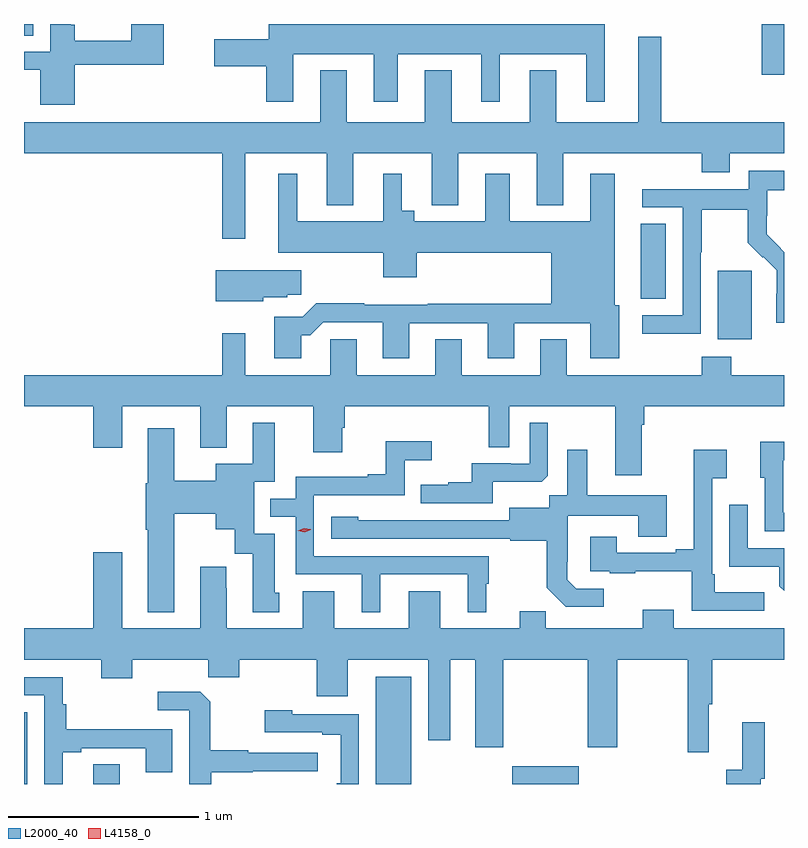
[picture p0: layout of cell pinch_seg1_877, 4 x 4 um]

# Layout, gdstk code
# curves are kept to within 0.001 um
import gdstk
lib = gdstk.Library(unit=1e-6, precision=1e-09)
def R(c, l, rs):  # rectangles x0, y0, x1, y1
    for r in rs: c.add(gdstk.rectangle(r[:2], r[2:], *l))
def P(c, l, *ps):  # polygons
    for p in ps: c.add(gdstk.Polygon(p, *l))
L2000_40 = (2000, 40)
L4158_0 = (4158, 0)

pinch_seg1_877 = lib.new_cell('pinch_seg1_877')
R(pinch_seg1_877, L2000_40, [(614.329,529.765,614.346,530.142), (614.693,529.765,614.833,529.868), (616.181,529.765,616.366,530.329), (616.898,529.765,617.248,529.858), (617.981,532.106,618.16,532.467), (617.576,532.318,617.707,532.715), (618.212,533.499,618.329,533.765), (614.329,533.704,614.377,533.765)])
P(pinch_seg1_877, L2000_40, [(615.745,533.606),(616.169,533.606),(616.169,533.355),(616.297,533.355),(616.297,533.606),(616.736,533.606),(616.736,533.355),(616.834,533.355),(616.834,533.606),(617.288,533.606),(617.288,533.355),(617.386,533.355),(617.386,533.765),(615.617,533.765),(615.617,533.684),(615.33,533.684),(615.33,533.542),(615.605,533.542),(615.605,533.355),(615.745,533.355)],
  [(614.596,533.55),(615.065,533.55),(615.065,533.765),(614.894,533.765),(614.894,533.678),(614.596,533.678),(614.596,533.761),(614.575,533.761),(614.575,533.765),(614.466,533.765),(614.466,533.619),(614.329,533.619),(614.329,533.523),(614.414,533.523),(614.414,533.339),(614.596,533.339)],
  [(617.131,533.521),(616.991,533.521),(616.991,533.248),(616.579,533.248),(616.579,533.521),(616.439,533.521),(616.439,533.248),(616.027,533.248),(616.027,533.521),(615.887,533.521),(615.887,533.248),(614.329,533.248),(614.329,533.084),(615.372,533.084),(615.372,532.635),(615.493,532.635),(615.493,533.084),(615.923,533.084),(615.923,532.811),(616.063,532.811),(616.063,533.084),(616.475,533.084),(616.475,532.811),(616.615,532.811),(616.615,533.084),(617.027,533.084),(617.027,532.811),(617.167,532.811),(617.167,533.084),(617.896,533.084),(617.896,532.985),(618.043,532.985),(618.043,533.084),(618.329,533.084),(618.329,533.248),(617.683,533.248),(617.683,533.698),(617.561,533.698),(617.561,533.248),(617.131,533.248)],
  [(617.892,532.564),(617.895,532.564),(617.895,532.788),(618.139,532.788),(618.139,532.613),(618.216,532.536),(618.219,532.539),(618.29,532.469),(618.29,532.346),(618.288,532.346),(618.288,532.192),(618.329,532.192),(618.329,532.565),(618.311,532.583),(618.312,532.584),(618.238,532.658),(618.238,532.755),(618.24,532.755),(618.24,532.889),(618.329,532.889),(618.329,532.993),(618.144,532.993),(618.144,532.896),(617.583,532.896),(617.583,532.8),(617.796,532.8),(617.796,532.233),(617.583,532.233),(617.583,532.135),(617.892,532.135)],
  [(615.787,532.127),(615.836,532.127),(615.903,532.194),(616.217,532.194),(616.217,532.005),(616.357,532.005),(616.357,532.191),(616.769,532.191),(616.769,532.005),(616.909,532.005),(616.909,532.191),(617.309,532.191),(617.309,532.005),(617.461,532.005),(617.461,532.284),(617.437,532.284),(617.437,532.978),(617.309,532.978),(617.309,532.726),(616.885,532.726),(616.885,532.978),(616.757,532.978),(616.757,532.726),(616.384,532.726),(616.384,532.783),(616.318,532.783),(616.318,532.978),(616.22,532.978),(616.22,532.726),(615.766,532.726),(615.766,532.978),(615.668,532.978),(615.668,532.562),(616.219,532.562),(616.219,532.431),(616.397,532.431),(616.397,532.562),(617.105,532.562),(617.105,532.292),(616.453,532.292),(616.453,532.288),(616.121,532.288),(616.121,532.295),(615.866,532.295),(615.795,532.224),(615.647,532.224),(615.647,532.005),(615.787,532.005)],
  [(615.588,532.328),(615.714,532.328),(615.714,532.339),(615.787,532.339),(615.787,532.468),(615.338,532.468),(615.338,532.307),(615.588,532.307)],
  [(614.329,531.752),(614.693,531.752),(614.693,531.534),(614.845,531.534),(614.845,531.752),(615.257,531.752),(615.257,531.536),(615.397,531.536),(615.397,531.752),(615.851,531.752),(615.851,531.51),(616.003,531.51),(616.003,531.639),(616.016,531.639),(616.016,531.752),(616.776,531.752),(616.776,531.538),(616.884,531.538),(616.884,531.752),(617.441,531.752),(617.441,531.39),(617.581,531.39),(617.581,531.656),(617.594,531.656),(617.594,531.752),(618.329,531.752),(618.329,531.916),(618.051,531.916),(618.051,532.015),(617.896,532.015),(617.896,531.916),(617.185,531.916),(617.185,532.106),(617.045,532.106),(617.045,531.916),(616.633,531.916),(616.633,532.106),(616.493,532.106),(616.493,531.916),(616.081,531.916),(616.081,532.106),(615.942,532.106),(615.942,531.916),(615.493,531.916),(615.493,532.138),(615.372,532.138),(615.372,531.916),(614.329,531.916)],
  [(616.795,531.356),(617.053,531.356),(617.085,531.387),(617.085,531.667),(616.992,531.667),(616.992,531.45),(616.892,531.45),(616.892,531.453),(616.685,531.453),(616.685,531.352),(616.561,531.352),(616.561,531.34),(616.417,531.34),(616.417,531.243),(616.795,531.243)],
  [(615.121,531.188),(615.338,531.188),(615.338,531.107),(615.437,531.107),(615.437,530.976),(615.533,530.976),(615.533,530.67),(615.673,530.67),(615.673,530.772),(615.649,530.772),(615.649,531.081),(615.54,531.081),(615.54,531.357),(615.649,531.357),(615.649,531.667),(615.533,531.667),(615.533,531.451),(615.338,531.451),(615.338,531.36),(615.121,531.36),(615.121,531.637),(614.981,531.637),(614.981,531.348),(614.969,531.348),(614.969,531.104),(614.981,531.104),(614.981,530.669),(615.121,530.669)],
  [(616.204,530.868),(616.664,530.868),(616.664,530.669),(616.762,530.669),(616.762,530.82),(616.774,530.82),(616.774,530.964),(615.855,530.964),(615.855,531.285),(616.332,531.285),(616.332,531.47),(616.474,531.47),(616.474,531.569),(616.234,531.569),(616.234,531.394),(616.139,531.394),(616.139,531.381),(615.759,531.381),(615.759,531.267),(615.626,531.267),(615.626,531.171),(615.759,531.171),(615.759,530.868),(616.106,530.868),(616.106,530.669),(616.204,530.669)],
  [(618.329,531.192),(618.324,531.192),(618.324,531.468),(618.329,531.468),(618.329,531.566),(618.203,531.566),(618.203,531.378),(618.228,531.378),(618.228,531.096),(618.329,531.096)],
  [(618.226,530.773),(617.965,530.773),(617.965,530.869),(617.952,530.869),(617.952,531.374),(618.028,531.374),(618.028,531.523),(617.855,531.523),(617.855,531.001),(617.759,531.001),(617.759,530.982),(617.449,530.982),(617.449,531.067),(617.309,531.067),(617.309,530.886),(617.413,530.886),(617.413,530.874),(617.545,530.874),(617.545,530.885),(617.844,530.885),(617.844,530.676),(618.226,530.676)],
  [(617.38,530.793),(617.235,530.793),(617.188,530.84),(617.188,530.935),(617.19,530.935),(617.19,531.176),(617.561,531.176),(617.561,531.067),(617.713,531.067),(617.713,531.286),(617.293,531.286),(617.293,531.523),(617.189,531.523),(617.189,531.284),(617.094,531.284),(617.094,531.22),(616.883,531.22),(616.883,531.153),(616.089,531.154),(616.089,531.172),(615.945,531.172),(615.945,531.057),(616.887,531.057),(616.887,531.045),(617.079,531.045),(617.079,530.799),(617.179,530.699),(617.38,530.699)],
  [(618.329,531.006),(618.138,531.006),(618.138,531.235),(618.042,531.235),(618.042,530.909),(618.304,530.909),(618.304,530.807),(618.329,530.782)],
  [(617.749,530.683),(617.585,530.683),(617.585,530.584),(617.075,530.584),(617.075,530.675),(616.937,530.675),(616.937,530.584),(616.519,530.584),(616.519,530.779),(616.355,530.779),(616.355,530.584),(615.961,530.584),(615.961,530.779),(615.797,530.779),(615.797,530.584),(615.397,530.584),(615.397,530.795),(615.394,530.795),(615.394,530.908),(615.257,530.908),(615.257,530.584),(614.845,530.584),(614.845,530.986),(614.693,530.986),(614.693,530.584),(614.329,530.584),(614.329,530.42),(614.735,530.42),(614.735,530.321),(614.899,530.321),(614.899,530.42),(615.299,530.42),(615.299,530.327),(615.463,530.327),(615.463,530.42),(615.869,530.42),(615.869,530.226),(616.033,530.226),(616.033,530.42),(616.457,530.42),(616.457,529.995),(616.573,529.995),(616.573,530.42),(616.703,530.42),(616.703,529.959),(616.851,529.959),(616.851,530.42),(617.296,530.42),(617.296,529.959),(617.451,529.959),(617.451,530.42),(617.823,530.42),(617.823,529.932),(617.933,529.932),(617.933,530.184),(617.951,530.184),(617.951,530.42),(618.329,530.42),(618.329,530.584),(617.749,530.584)],
  [(614.533,529.933),(614.629,529.933),(614.629,529.953),(614.969,529.953),(614.969,529.828),(615.109,529.828),(615.109,530.054),(614.552,530.054),(614.552,530.186),(614.534,530.186),(614.534,530.328),(614.329,530.328),(614.329,530.232),(614.436,530.232),(614.436,529.765),(614.533,529.765)],
  [(615.314,529.828),(615.533,529.828),(615.533,529.832),(615.874,529.832),(615.874,529.929),(615.509,529.929),(615.509,529.942),(615.309,529.942),(615.309,530.199),(615.257,530.251),(615.033,530.251),(615.033,530.154),(615.198,530.154),(615.198,529.765),(615.314,529.765)],
  [(616.092,530.133),(615.741,530.133),(615.741,530.152),(615.597,530.152),(615.597,530.037),(615.899,530.037),(615.899,530.025),(615.996,530.025),(615.996,529.768),(615.976,529.768),(615.976,529.765),(616.092,529.765)],
  [(618.207,529.792),(618.227,529.792),(618.227,530.089),(618.11,530.089),(618.11,529.841),(618.024,529.841),(618.024,529.765),(618.207,529.765)])
P(pinch_seg1_877, L4158_0, [(615.806,531.091),(615.77,531.098),(615.77,531.098),(615.77,531.099),(615.804,531.111),(615.839,531.105),(615.839,531.105),(615.839,531.104)])

lib.write_gds('pinch_seg1_877.gds')
